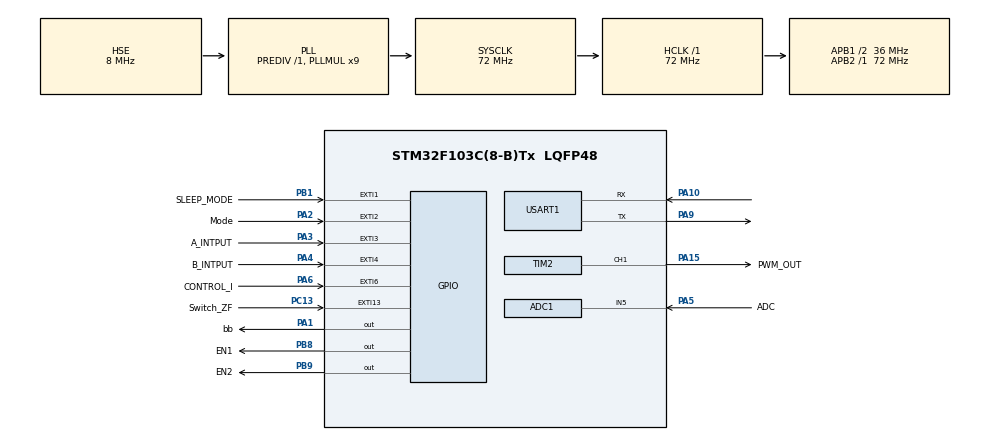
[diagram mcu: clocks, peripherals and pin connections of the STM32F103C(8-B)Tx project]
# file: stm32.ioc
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ADC1.Channel-1\#ChannelRegularConversion=ADC_CHANNEL_5
ADC1.NbrOfConversionFlag=1
ADC1.Rank-1\#ChannelRegularConversion=1
ADC1.SamplingTime-1\#ChannelRegularConversion=ADC_SAMPLETIME_1CYCLE_5
ADC1.master=1
Mcu.Family=STM32F1
Mcu.Name=STM32F103C(8-B)Tx
Mcu.Package=LQFP48
NVIC.EXTI2_IRQn=true\:0\:0\:false\:false\:true\:true\:true
NVIC.EXTI3_IRQn=true\:0\:0\:false\:false\:true\:true\:true
NVIC.EXTI4_IRQn=true\:0\:0\:false\:false\:true\:true\:true
NVIC.EXTI9_5_IRQn=true\:0\:0\:false\:false\:true\:true\:true
NVIC.PriorityGroup=NVIC_PRIORITYGROUP_4
NVIC.TIM1_UP_IRQn=true\:0\:0\:false\:false\:true\:true\:true
PA0-WKUP.Mode=SYS_WakeUp0
PA0-WKUP.Signal=SYS_WKUP
PA1.GPIO_Label=bb
PA1.GPIO_ModeDefaultOutputPP=GPIO_MODE_OUTPUT_OD
PA1.GPIO_PuPd=GPIO_NOPULL
PA1.GPIO_Speed=GPIO_SPEED_FREQ_HIGH
PA1.PinState=GPIO_PIN_RESET
PA1.Signal=GPIO_Output
PA10.Mode=Asynchronous
PA10.Signal=USART1_RX
PA15.GPIO_Label=PWM_OUT
PA15.Signal=S_TIM2_CH1_ETR
PA2.GPIO_Label=Mode
PA2.GPIO_PuPd=GPIO_PULLDOWN
PA2.Signal=GPXTI2
PA3.GPIO_Label=A_INTPUT
PA3.GPIO_PuPd=GPIO_PULLDOWN
PA3.Signal=GPXTI3
PA4.GPIO_Label=B_INTPUT
PA4.GPIO_ModeDefaultEXTI=GPIO_MODE_IT_RISING_FALLING
PA4.GPIO_PuPd=GPIO_PULLDOWN
PA4.Signal=GPXTI4
PA5.GPIO_Label=ADC
PA5.Signal=ADCx_IN5
PA6.GPIO_Label=CONTROL_I
PA6.GPIO_ModeDefaultEXTI=GPIO_MODE_IT_RISING_FALLING
PA6.GPIO_PuPd=GPIO_PULLDOWN
PA6.Signal=GPXTI6
PA9.Mode=Asynchronous
PA9.Signal=USART1_TX
PB1.GPIO_Label=SLEEP_MODE
PB1.GPIO_PuPd=GPIO_PULLUP
PB1.Signal=GPXTI1
PB8.GPIO_Label=EN1
PB8.PinState=GPIO_PIN_SET
PB8.Signal=GPIO_Output
PB9.GPIO_Label=EN2
PB9.PinState=GPIO_PIN_SET
PB9.Signal=GPIO_Output
PC13-TAMPER-RTC.GPIO_Label=Switch_ZF
PC13-TAMPER-RTC.GPIO_ModeDefaultEXTI=GPIO_MODE_IT_RISING
PC13-TAMPER-RTC.GPIO_PuPd=GPIO_PULLDOWN
PC13-TAMPER-RTC.Signal=GPXTI13
PD0-OSC_IN.Mode=HSE-External-Oscillator
PD0-OSC_IN.Signal=RCC_OSC_IN
PD1-OSC_OUT.Mode=HSE-External-Oscillator
PD1-OSC_OUT.Signal=RCC_OSC_OUT
ProjectManager.HeapSize=0x200
ProjectManager.StackSize=0x400
ProjectManager.TargetToolchain=MDK-ARM V5
RCC.ADCPresc=RCC_ADCPCLK2_DIV6
RCC.AHBFreq_Value=72000000
RCC.APB1CLKDivider=RCC_HCLK_DIV2
RCC.APB1Freq_Value=36000000
RCC.APB1TimFreq_Value=72000000
RCC.APB2Freq_Value=72000000
RCC.APB2TimFreq_Value=72000000
RCC.HCLKFreq_Value=72000000
RCC.PLLMUL=RCC_PLL_MUL9
RCC.PLLSourceVirtual=RCC_PLLSOURCE_HSE
RCC.SYSCLKFreq_VALUE=72000000
RCC.SYSCLKSource=RCC_SYSCLKSOURCE_PLLCLK
RCC.USBFreq_Value=72000000
SH.ADCx_IN5.0=ADC1_IN5,IN5
SH.S_TIM2_CH1_ETR.0=TIM2_CH1,PWM Generation1 CH1
TIM1.AutoReloadPreload=TIM_AUTORELOAD_PRELOAD_ENABLE
TIM1.Period=1000-1
TIM1.Prescaler=720-1
TIM2.AutoReloadPreload=TIM_AUTORELOAD_PRELOAD_ENABLE
TIM2.Channel-PWM\ Generation1\ CH1=TIM_CHANNEL_1
TIM2.Period=1000-1
TIM2.Prescaler=720-1
TIM2.Pulse-PWM\ Generation1\ CH1=10
USART1.VirtualMode=VM_ASYNC
VP_SYS_VS_ND.Mode=No_Debug
VP_TIM1_VS_ClockSourceINT.Mode=Internal
VP_TIM2_VS_ClockSourceINT.Mode=Internal
board=custom

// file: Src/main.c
/* USER CODE BEGIN Header */
/**
  ******************************************************************************
  * @file           : main.c
  * @brief          : Main program body
  ******************************************************************************
  * @attention
  *
  * <h2><center>&copy; Copyright (c) 2020 STMicroelectronics.
  * All rights reserved.</center></h2>
  *
  * This software component is licensed by ST under BSD 3-Clause license,
  * the "License"; You may not use this file except in compliance with the
  * License. You may obtain a copy of the License at:
  *                        opensource.org/licenses/BSD-3-Clause
  *
  ******************************************************************************
  */
/* USER CODE END Header */

#include "main.h"
#include "adc.h"
#include "tim.h"
#include "usart.h"
#include "gpio.h"

/* USER CODE BEGIN Includes */
#include <stdio.h>
#include "moto.h"
/* USER CODE END Includes */

/* USER CODE BEGIN PV */

int pwm_mode0 = 0;    		//pwm计数
int pwm_mode1_ang = 0;  	//pwm计数
int pwm_mode1_sp = 0;     //pwm计数
int mode = -1;            //模式0和1 -1为无操作
int target_speed = 5*390; //目标速度：脉冲/秒
int target_angel_1 = 160; //目标圈数
int target_angel_2 = 530; //目标圈数1m
int target_speed_1 = 0.3*390;
int uart_sent_times = 0;  //串口时间
int stateZF = 0;          //电机换向
float ADC = 0;       //ADC值

/* USER CODE END PV */

void SystemClock_Config(void);

/* USER CODE BEGIN 0 */
int fputc(int ch, FILE *f){
	uint8_t temp[1] = {ch};
	HAL_UART_Transmit(&huart1, temp, 1, 2);//huart1需要根据你的配置修改
	return ch;
}
/* USER CODE END 0 */

int main(void)
{

  /* MCU Configuration--------------------------------------------------------*/

  /* Reset of all peripherals, Initializes the Flash interface and the Systick. */
  HAL_Init();

  /* Configure the system clock */
  SystemClock_Config();

  /* Initialize all configured peripherals */
  MX_GPIO_Init();
  MX_ADC1_Init();
  MX_TIM1_Init();
  MX_TIM2_Init();
  MX_USART1_UART_Init();
  /* USER CODE BEGIN 2 */
	HAL_TIM_Base_Start_IT(&htim1);
	HAL_ADCEx_Calibration_Start(&hadc1);

  /* USER CODE END 2 */

  /* Infinite loop */
  while (1)
  {

  }
}

void SystemClock_Config(void)
{
  RCC_OscInitTypeDef RCC_OscInitStruct = {0};
  RCC_ClkInitTypeDef RCC_ClkInitStruct = {0};
  RCC_PeriphCLKInitTypeDef PeriphClkInit = {0};

  /** Initializes the CPU, AHB and APB busses clocks
  */
  RCC_OscInitStruct.OscillatorType = RCC_OSCILLATORTYPE_HSE;
  RCC_OscInitStruct.HSEState = RCC_HSE_ON;
  RCC_OscInitStruct.HSEPredivValue = RCC_HSE_PREDIV_DIV1;
  RCC_OscInitStruct.HSIState = RCC_HSI_ON;
  RCC_OscInitStruct.PLL.PLLState = RCC_PLL_ON;
  RCC_OscInitStruct.PLL.PLLSource = RCC_PLLSOURCE_HSE;
  RCC_OscInitStruct.PLL.PLLMUL = RCC_PLL_MUL9;
  if (HAL_RCC_OscConfig(&RCC_OscInitStruct) != HAL_OK)
  {
    Error_Handler();
  }
  /** Initializes the CPU, AHB and APB busses clocks
  */
  RCC_ClkInitStruct.ClockType = RCC_CLOCKTYPE_HCLK|RCC_CLOCKTYPE_SYSCLK
                              |RCC_CLOCKTYPE_PCLK1|RCC_CLOCKTYPE_PCLK2;
  RCC_ClkInitStruct.SYSCLKSource = RCC_SYSCLKSOURCE_PLLCLK;
  RCC_ClkInitStruct.AHBCLKDivider = RCC_SYSCLK_DIV1;
  RCC_ClkInitStruct.APB1CLKDivider = RCC_HCLK_DIV2;
  RCC_ClkInitStruct.APB2CLKDivider = RCC_HCLK_DIV1;

  if (HAL_RCC_ClockConfig(&RCC_ClkInitStruct, FLASH_LATENCY_2) != HAL_OK)
  {
    Error_Handler();
  }
  PeriphClkInit.PeriphClockSelection = RCC_PERIPHCLK_ADC;
  PeriphClkInit.AdcClockSelection = RCC_ADCPCLK2_DIV6;
  if (HAL_RCCEx_PeriphCLKConfig(&PeriphClkInit) != HAL_OK)
  {
    Error_Handler();
  }
}

/* USER CODE BEGIN 4 */

/*********************/
void BeforeSleep(void){                                         //休眠状态前准备
	__HAL_RCC_APB2_FORCE_RESET();
	__HAL_RCC_PWR_CLK_ENABLE();
	__HAL_PWR_CLEAR_FLAG(PWR_FLAG_WU);
	HAL_PWR_EnableWakeUpPin(PWR_WAKEUP_PIN1);
}

void SwitchZF(void){                                            //切换电机方向
	HAL_GPIO_WritePin(EN1_GPIO_Port,EN1_Pin,GPIO_PIN_SET);
	HAL_GPIO_WritePin(EN2_GPIO_Port,EN2_Pin,GPIO_PIN_SET);
	HAL_Delay(10);
	if(stateZF == 0){
		HAL_GPIO_WritePin(EN1_GPIO_Port,EN1_Pin,GPIO_PIN_SET);
		HAL_GPIO_WritePin(EN2_GPIO_Port,EN2_Pin,GPIO_PIN_RESET);
	}
	else if(stateZF == 1){
		HAL_GPIO_WritePin(EN1_GPIO_Port,EN1_Pin,GPIO_PIN_RESET);
		HAL_GPIO_WritePin(EN2_GPIO_Port,EN2_Pin,GPIO_PIN_SET);
	}
}

/*********************/
void HAL_GPIO_EXTI_Callback(uint16_t GPIO_Pin) {
  if(GPIO_Pin == A_INTPUT_Pin) {                                //检测到电机AB相有上升沿或下降沿均计数一次，即4倍频
		if(mode == 0)
			pwm_mode0++;
  }

	else if(GPIO_Pin == B_INTPUT_Pin){                            //检测到电机AB相有上升沿或下降沿均计数一次，即4倍频
		if(mode == 0)
			pwm_mode0++;
	}

	else if(GPIO_Pin == Mode_Pin){
		HAL_Delay(10);                                               //消抖
		if(HAL_GPIO_ReadPin(Mode_GPIO_Port,Mode_Pin) == GPIO_PIN_SET){     //切换模式，题5
			mode = 0;
		}
		else if(HAL_GPIO_ReadPin(Mode_GPIO_Port,Mode_Pin) == SET){  //切换模式，题6
			mode = 1;
		}
	}

	else if(GPIO_Pin == SLEEP_MODE_Pin){                          //进入休眠状态
		HAL_Delay(3000);                                            //消抖、延迟
		if(HAL_GPIO_ReadPin(Mode_GPIO_Port,Mode_Pin) == GPIO_PIN_SET){
			BeforeSleep();
			HAL_PWR_EnterSTANDBYMode();
		}
	}

	else if(GPIO_Pin == CONTROL_I_Pin){                           //题6二倍频计数
		if(mode == 1)
			pwm_mode1_ang++;
			pwm_mode1_sp++;
	}
	else if(GPIO_Pin == Switch_ZF_Pin){                           //切换电机方向
		HAL_Delay(10);                                              //消抖、延迟
		if(HAL_GPIO_ReadPin(Mode_GPIO_Port,Mode_Pin) == GPIO_PIN_SET){
			stateZF = !stateZF;
			SwitchZF();
		}

	}
}

/*********************/
void HAL_TIM_PeriodElapsedCallback(TIM_HandleTypeDef *htim) {
	if (htim->Instance == htim1.Instance) {
		if(mode != -1){
			HAL_TIM_PWM_Start(&htim2,TIM_CHANNEL_1);                //启动PWM输出
			if(mode == 0){
				int pwm = (float)calculate_speed(pwm_mode0)/4.0;      //得到频率 除4为还原原频率
				pwm_mode0 = 0;																				//重置得速度
				float speed = pwm;                              //每圈390个脉冲
				mode_0(target_speed,speed);                           //模式0函数
				uint8_t speed_out = (float)((int)speed*100)/100.0;    //剩两位小数
			}
			else if(mode == 1){
				int pwm_ang = (float)calculate_speed(pwm_mode1_ang)/2.0;       //得到频率 除4为还原原频率
				float angel = pwm_ang/2.0;                                     //每圈2个脉冲
        int pwm_sp = (float)calculate_speed(pwm_mode1_sp)/2.0;         //得到频率 除4为还原原频率
				pwm_mode1_sp = 0;																				       //重置得速度
				float speed = pwm_sp/2.0;
				mode_1(target_angel_1,target_angel_2,angel,target_speed_1,speed);            //模式1函数
			}
		}
		if(uart_sent_times == 100){
			HAL_ADC_Start(&hadc1);                             //启动ADC
			HAL_ADC_PollForConversion(&hadc1, 5);              //读取ADC数值，时间5ms  实际时间12Mhz/14
			ADC += HAL_ADC_GetValue(&hadc1);              //记录检测电流
			float ADCvalue = ADC*3.3/4096;                //求电压
			printf("%.4f/n",ADCvalue/5.0);										 //串口输出电流
			uart_sent_times = 0;
		}
//		else if(uart_sent_times > 96){
//			HAL_ADC_Start(&hadc1);                             //启动ADC
//			HAL_ADC_PollForConversion(&hadc1, 5);              //读取ADC数值，时间5ms  实际时间12Mhz/14
//			temp_ADC += HAL_ADC_GetValue(&hadc1);              //记录检测电流
//		}
	}
}

/* USER CODE END 4 */

void Error_Handler(void)
{
}

/************************ (C) COPYRIGHT STMicroelectronics *****END OF FILE****/
